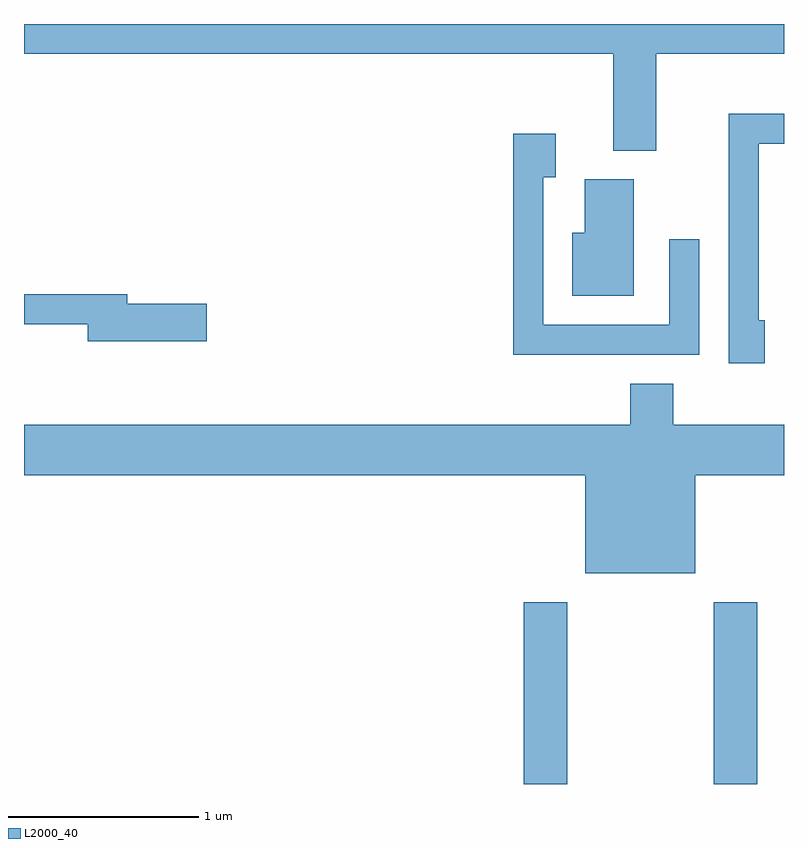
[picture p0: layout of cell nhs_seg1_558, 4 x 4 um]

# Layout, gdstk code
import gdstk
lib = gdstk.Library(unit=1e-6, precision=1e-09)
def R(c, l, rs):  # rectangles x0, y0, x1, y1
    for r in rs: c.add(gdstk.rectangle(r[:2], r[2:], *l))
def P(c, l, *ps):  # polygons
    for p in ps: c.add(gdstk.Polygon(p, *l))
L2000_40 = (2000, 40)

nhs_seg1_558 = lib.new_cell('nhs_seg1_558')
R(nhs_seg1_558, L2000_40, [(204.241,915.712,204.469,916.669), (205.241,915.712,205.469,916.669)])
P(nhs_seg1_558, L2000_40, [(204.939,919.556),(205.611,919.556),(205.611,919.712),(201.611,919.712),(201.611,919.556),(204.711,919.556),(204.711,919.046),(204.939,919.046)],
  [(205.509,918.154),(205.479,918.154),(205.479,919.081),(205.611,919.081),(205.611,919.239),(205.321,919.239),(205.321,917.926),(205.509,917.926)],
  [(205.164,918.578),(205.006,918.578),(205.006,918.129),(204.344,918.129),(204.344,918.906),(204.409,918.906),(204.409,919.134),(204.186,919.134),(204.186,917.971),(205.164,917.971)],
  [(204.819,918.894),(204.561,918.894),(204.561,918.614),(204.496,918.614),(204.496,918.281),(204.819,918.281)],
  [(202.574,918.239),(202.154,918.239),(202.154,918.289),(201.611,918.289),(201.611,918.131),(201.946,918.131),(201.946,918.041),(202.574,918.041)],
  [(205.144,917.336),(205.611,917.336),(205.611,917.604),(205.029,917.604),(205.029,917.819),(204.801,917.819),(204.801,917.604),(201.611,917.604),(201.611,917.336),(204.566,917.336),(204.566,916.821),(205.144,916.821)])

lib.write_gds('nhs_seg1_558.gds')
